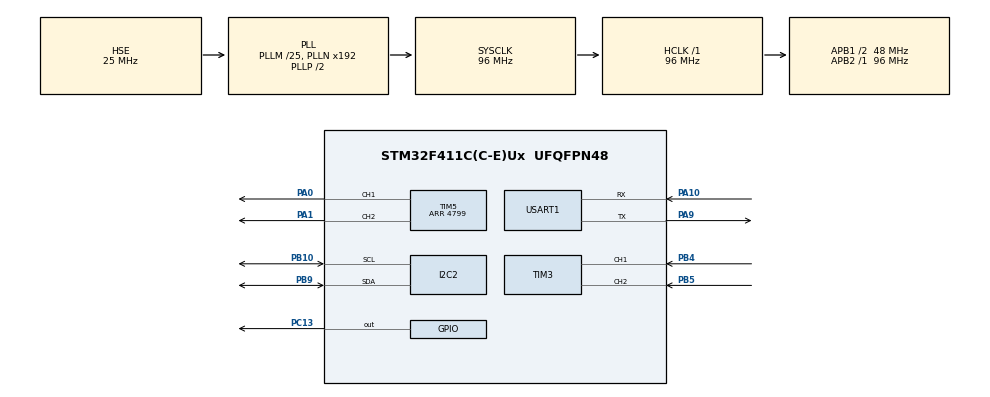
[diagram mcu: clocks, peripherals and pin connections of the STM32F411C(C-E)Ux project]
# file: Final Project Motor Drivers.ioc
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I2C2.I2C_Mode=I2C_Fast
Mcu.Family=STM32F4
Mcu.Name=STM32F411C(C-E)Ux
Mcu.Package=UFQFPN48
NVIC.I2C2_ER_IRQn=true\:0\:0\:false\:false\:true\:true\:true\:true
NVIC.I2C2_EV_IRQn=true\:0\:0\:false\:false\:true\:true\:true\:true
NVIC.PriorityGroup=NVIC_PRIORITYGROUP_4
NVIC.TIM3_IRQn=true\:0\:0\:false\:false\:true\:true\:true\:true
NVIC.USART1_IRQn=true\:0\:0\:false\:false\:true\:true\:true\:true
PA0-WKUP.Signal=S_TIM5_CH1
PA1.Signal=S_TIM5_CH2
PA10.Mode=Asynchronous
PA10.Signal=USART1_RX
PA13.Mode=Serial_Wire
PA13.Signal=SYS_JTMS-SWDIO
PA14.Mode=Serial_Wire
PA14.Signal=SYS_JTCK-SWCLK
PA9.Mode=Asynchronous
PA9.Signal=USART1_TX
PB10.GPIO_Pu=GPIO_NOPULL
PB10.Mode=I2C
PB10.Signal=I2C2_SCL
PB4.GPIO_ModeDefaultPP=GPIO_MODE_AF_OD
PB4.GPIO_PuPd=GPIO_PULLUP
PB4.Signal=S_TIM3_CH1
PB5.GPIO_ModeDefaultPP=GPIO_MODE_AF_OD
PB5.GPIO_PuPd=GPIO_PULLUP
PB5.Signal=S_TIM3_CH2
PB9.GPIO_Pu=GPIO_NOPULL
PB9.Mode=I2C
PB9.Signal=I2C2_SDA
PC13-ANTI_TAMP.Signal=GPIO_Output
PH0\ -\ OSC_IN.Mode=HSE-External-Oscillator
PH0\ -\ OSC_IN.Signal=RCC_OSC_IN
PH1\ -\ OSC_OUT.Mode=HSE-External-Oscillator
PH1\ -\ OSC_OUT.Signal=RCC_OSC_OUT
ProjectManager.HeapSize=0x200
ProjectManager.StackSize=0x400
ProjectManager.TargetToolchain=STM32CubeIDE
RCC.48MHZClocksFreq_Value=48000000
RCC.AHBFreq_Value=96000000
RCC.APB1CLKDivider=RCC_HCLK_DIV2
RCC.APB1Freq_Value=48000000
RCC.APB1TimFreq_Value=96000000
RCC.APB2Freq_Value=96000000
RCC.APB2TimFreq_Value=96000000
RCC.CortexFreq_Value=96000000
RCC.HCLKFreq_Value=96000000
RCC.HSE_VALUE=25000000
RCC.HSI_VALUE=16000000
RCC.LSE_VALUE=32768
RCC.PLLM=25
RCC.PLLSourceVirtual=RCC_PLLSOURCE_HSE
RCC.SYSCLKFreq_VALUE=96000000
RCC.SYSCLKSource=RCC_SYSCLKSOURCE_PLLCLK
RCC.VCOOutputFreq_Value=192000000
SH.S_TIM3_CH1.0=TIM3_CH1,Encoder_Interface
SH.S_TIM3_CH2.0=TIM3_CH2,Encoder_Interface
SH.S_TIM5_CH1.0=TIM5_CH1,PWM Generation1 CH1
SH.S_TIM5_CH2.0=TIM5_CH2,PWM Generation2 CH2
TIM2.Period=4799
TIM2.Prescaler=0
TIM3.AutoReloadPreload=TIM_AUTORELOAD_PRELOAD_DISABLE
TIM5.Channel-PWM\ Generation1\ CH1=TIM_CHANNEL_1
TIM5.Channel-PWM\ Generation2\ CH2=TIM_CHANNEL_2
TIM5.OCPolarity_1=TIM_OCPOLARITY_LOW
TIM5.OCPolarity_2=TIM_OCPOLARITY_LOW
TIM5.Period=4799
USART1.VirtualMode=VM_ASYNC
VP_TIM1_VS_ClockSourceITR.Mode=TriggerSource_ITR0
VP_TIM2_VS_ClockSourceINT.Mode=Internal
board=custom

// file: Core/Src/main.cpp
/* USER CODE BEGIN Header */
/**
  ******************************************************************************
  * @file           : main.c
  * @brief          : Main program body
  ******************************************************************************
  * @attention
  *
  * Copyright (c) 2023 STMicroelectronics.
  * All rights reserved.
  *
  * This software is licensed under terms that can be found in the LICENSE file
  * in the root directory of this software component.
  * If no LICENSE file comes with this software, it is provided AS-IS.
  *
  ******************************************************************************
  */
/* USER CODE END Header */
#include "main.h"

/* USER CODE BEGIN Includes */
#include "Motor.h"

/* USER CODE END Includes */

I2C_HandleTypeDef hi2c2;

TIM_HandleTypeDef htim1;
TIM_HandleTypeDef htim2;
TIM_HandleTypeDef htim3;
TIM_HandleTypeDef htim5;

UART_HandleTypeDef huart1;

/* USER CODE BEGIN PV */
int motorDuty = 50;
int16_t Count = 0;
char msg_buff[200] = {0};
int reset = 0;
/* USER CODE END PV */

void SystemClock_Config(void);
static void MX_GPIO_Init(void);
static void MX_TIM2_Init(void);
static void MX_USART1_UART_Init(void);
static void MX_TIM1_Init(void);
static void MX_I2C2_Init(void);
static void MX_TIM3_Init(void);
static void MX_TIM5_Init(void);

/* USER CODE BEGIN 0 */
Motor motor1 = Motor(&htim5,&htim3,TIM_CHANNEL_1,TIM_CHANNEL_2);
/* USER CODE END 0 */

int main(void)
{

  /* MCU Configuration--------------------------------------------------------*/

  /* Reset of all peripherals, Initializes the Flash interface and the Systick. */
  HAL_Init();

  /* Configure the system clock */
  SystemClock_Config();

  /* Initialize all configured peripherals */
  MX_GPIO_Init();
  MX_TIM2_Init();
  MX_USART1_UART_Init();
  MX_TIM1_Init();
  MX_I2C2_Init();
  MX_TIM3_Init();
  MX_TIM5_Init();
  /* USER CODE BEGIN 2 */
  HAL_TIM_Encoder_Start(&htim3,TIM_CHANNEL_ALL);
  HAL_TIM_PWM_Start(&htim5,TIM_CHANNEL_1);
  HAL_TIM_PWM_Start(&htim5,TIM_CHANNEL_2);

  motor1.Enable(1);
  motor1.setGains(3,0,1);
  //motor1.duty(50);
  /* USER CODE END 2 */

  /* Infinite loop */
  /* USER CODE BEGIN WHILE */
  while (1)
  {
	  HAL_Delay(10);
	  motor1.VariableControl(6747/3,8,0.2,25);

	  int32_t len = sprintf(msg_buff, "Motor Position is: %i Motor Effort is: %i Motor Error is: %i\r\n",motor1.Pos,motor1.Duty,motor1.error);
	  // print string to uart
	  HAL_UART_Transmit(&huart1,(uint8_t*) &msg_buff,len,1000);

	  if(reset == 1){
		  motor1.zeroErrors();
		  motor1.Pos = 0;
	  }
    /* USER CODE END WHILE */

  }
}

void SystemClock_Config(void)
{
  RCC_OscInitTypeDef RCC_OscInitStruct = {0};
  RCC_ClkInitTypeDef RCC_ClkInitStruct = {0};

  /** Configure the main internal regulator output voltage
  */
  __HAL_RCC_PWR_CLK_ENABLE();
  __HAL_PWR_VOLTAGESCALING_CONFIG(PWR_REGULATOR_VOLTAGE_SCALE1);

  /** Initializes the RCC Oscillators according to the specified parameters
  * in the RCC_OscInitTypeDef structure.
  */
  RCC_OscInitStruct.OscillatorType = RCC_OSCILLATORTYPE_HSE;
  RCC_OscInitStruct.HSEState = RCC_HSE_ON;
  RCC_OscInitStruct.PLL.PLLState = RCC_PLL_ON;
  RCC_OscInitStruct.PLL.PLLSource = RCC_PLLSOURCE_HSE;
  RCC_OscInitStruct.PLL.PLLM = 25;
  RCC_OscInitStruct.PLL.PLLN = 192;
  RCC_OscInitStruct.PLL.PLLP = RCC_PLLP_DIV2;
  RCC_OscInitStruct.PLL.PLLQ = 4;
  if (HAL_RCC_OscConfig(&RCC_OscInitStruct) != HAL_OK)
  {
    Error_Handler();
  }

  /** Initializes the CPU, AHB and APB buses clocks
  */
  RCC_ClkInitStruct.ClockType = RCC_CLOCKTYPE_HCLK|RCC_CLOCKTYPE_SYSCLK
                              |RCC_CLOCKTYPE_PCLK1|RCC_CLOCKTYPE_PCLK2;
  RCC_ClkInitStruct.SYSCLKSource = RCC_SYSCLKSOURCE_PLLCLK;
  RCC_ClkInitStruct.AHBCLKDivider = RCC_SYSCLK_DIV1;
  RCC_ClkInitStruct.APB1CLKDivider = RCC_HCLK_DIV2;
  RCC_ClkInitStruct.APB2CLKDivider = RCC_HCLK_DIV1;

  if (HAL_RCC_ClockConfig(&RCC_ClkInitStruct, FLASH_LATENCY_3) != HAL_OK)
  {
    Error_Handler();
  }
}

static void MX_I2C2_Init(void)
{

  hi2c2.Instance = I2C2;
  hi2c2.Init.ClockSpeed = 400000;
  hi2c2.Init.DutyCycle = I2C_DUTYCYCLE_2;
  hi2c2.Init.OwnAddress1 = 0;
  hi2c2.Init.AddressingMode = I2C_ADDRESSINGMODE_7BIT;
  hi2c2.Init.DualAddressMode = I2C_DUALADDRESS_DISABLE;
  hi2c2.Init.OwnAddress2 = 0;
  hi2c2.Init.GeneralCallMode = I2C_GENERALCALL_DISABLE;
  hi2c2.Init.NoStretchMode = I2C_NOSTRETCH_DISABLE;
  if (HAL_I2C_Init(&hi2c2) != HAL_OK)
  {
    Error_Handler();
  }

}

static void MX_TIM1_Init(void)
{

  TIM_SlaveConfigTypeDef sSlaveConfig = {0};
  TIM_MasterConfigTypeDef sMasterConfig = {0};

  htim1.Instance = TIM1;
  htim1.Init.Prescaler = 0;
  htim1.Init.CounterMode = TIM_COUNTERMODE_UP;
  htim1.Init.Period = 65535;
  htim1.Init.ClockDivision = TIM_CLOCKDIVISION_DIV1;
  htim1.Init.RepetitionCounter = 0;
  htim1.Init.AutoReloadPreload = TIM_AUTORELOAD_PRELOAD_DISABLE;
  if (HAL_TIM_Base_Init(&htim1) != HAL_OK)
  {
    Error_Handler();
  }
  sSlaveConfig.SlaveMode = TIM_SLAVEMODE_DISABLE;
  sSlaveConfig.InputTrigger = TIM_TS_ITR0;
  if (HAL_TIM_SlaveConfigSynchro(&htim1, &sSlaveConfig) != HAL_OK)
  {
    Error_Handler();
  }
  sMasterConfig.MasterOutputTrigger = TIM_TRGO_RESET;
  sMasterConfig.MasterSlaveMode = TIM_MASTERSLAVEMODE_DISABLE;
  if (HAL_TIMEx_MasterConfigSynchronization(&htim1, &sMasterConfig) != HAL_OK)
  {
    Error_Handler();
  }

}

static void MX_TIM2_Init(void)
{

  TIM_ClockConfigTypeDef sClockSourceConfig = {0};
  TIM_MasterConfigTypeDef sMasterConfig = {0};

  htim2.Instance = TIM2;
  htim2.Init.Prescaler = 0;
  htim2.Init.CounterMode = TIM_COUNTERMODE_UP;
  htim2.Init.Period = 4799;
  htim2.Init.ClockDivision = TIM_CLOCKDIVISION_DIV1;
  htim2.Init.AutoReloadPreload = TIM_AUTORELOAD_PRELOAD_DISABLE;
  if (HAL_TIM_Base_Init(&htim2) != HAL_OK)
  {
    Error_Handler();
  }
  sClockSourceConfig.ClockSource = TIM_CLOCKSOURCE_INTERNAL;
  if (HAL_TIM_ConfigClockSource(&htim2, &sClockSourceConfig) != HAL_OK)
  {
    Error_Handler();
  }
  sMasterConfig.MasterOutputTrigger = TIM_TRGO_RESET;
  sMasterConfig.MasterSlaveMode = TIM_MASTERSLAVEMODE_DISABLE;
  if (HAL_TIMEx_MasterConfigSynchronization(&htim2, &sMasterConfig) != HAL_OK)
  {
    Error_Handler();
  }

}

static void MX_TIM3_Init(void)
{

  TIM_Encoder_InitTypeDef sConfig = {0};
  TIM_MasterConfigTypeDef sMasterConfig = {0};

  htim3.Instance = TIM3;
  htim3.Init.Prescaler = 0;
  htim3.Init.CounterMode = TIM_COUNTERMODE_UP;
  htim3.Init.Period = 65535;
  htim3.Init.ClockDivision = TIM_CLOCKDIVISION_DIV1;
  htim3.Init.AutoReloadPreload = TIM_AUTORELOAD_PRELOAD_DISABLE;
  sConfig.EncoderMode = TIM_ENCODERMODE_TI1;
  sConfig.IC1Polarity = TIM_ICPOLARITY_RISING;
  sConfig.IC1Selection = TIM_ICSELECTION_DIRECTTI;
  sConfig.IC1Prescaler = TIM_ICPSC_DIV1;
  sConfig.IC1Filter = 0;
  sConfig.IC2Polarity = TIM_ICPOLARITY_RISING;
  sConfig.IC2Selection = TIM_ICSELECTION_DIRECTTI;
  sConfig.IC2Prescaler = TIM_ICPSC_DIV1;
  sConfig.IC2Filter = 0;
  if (HAL_TIM_Encoder_Init(&htim3, &sConfig) != HAL_OK)
  {
    Error_Handler();
  }
  sMasterConfig.MasterOutputTrigger = TIM_TRGO_RESET;
  sMasterConfig.MasterSlaveMode = TIM_MASTERSLAVEMODE_DISABLE;
  if (HAL_TIMEx_MasterConfigSynchronization(&htim3, &sMasterConfig) != HAL_OK)
  {
    Error_Handler();
  }

}

static void MX_TIM5_Init(void)
{

  TIM_MasterConfigTypeDef sMasterConfig = {0};
  TIM_OC_InitTypeDef sConfigOC = {0};

  htim5.Instance = TIM5;
  htim5.Init.Prescaler = 0;
  htim5.Init.CounterMode = TIM_COUNTERMODE_UP;
  htim5.Init.Period = 4799;
  htim5.Init.ClockDivision = TIM_CLOCKDIVISION_DIV1;
  htim5.Init.AutoReloadPreload = TIM_AUTORELOAD_PRELOAD_DISABLE;
  if (HAL_TIM_PWM_Init(&htim5) != HAL_OK)
  {
    Error_Handler();
  }
  sMasterConfig.MasterOutputTrigger = TIM_TRGO_RESET;
  sMasterConfig.MasterSlaveMode = TIM_MASTERSLAVEMODE_DISABLE;
  if (HAL_TIMEx_MasterConfigSynchronization(&htim5, &sMasterConfig) != HAL_OK)
  {
    Error_Handler();
  }
  sConfigOC.OCMode = TIM_OCMODE_PWM1;
  sConfigOC.Pulse = 0;
  sConfigOC.OCPolarity = TIM_OCPOLARITY_LOW;
  sConfigOC.OCFastMode = TIM_OCFAST_DISABLE;
  if (HAL_TIM_PWM_ConfigChannel(&htim5, &sConfigOC, TIM_CHANNEL_1) != HAL_OK)
  {
    Error_Handler();
  }
  if (HAL_TIM_PWM_ConfigChannel(&htim5, &sConfigOC, TIM_CHANNEL_2) != HAL_OK)
  {
    Error_Handler();
  }
  HAL_TIM_MspPostInit(&htim5);

}

static void MX_USART1_UART_Init(void)
{

  huart1.Instance = USART1;
  huart1.Init.BaudRate = 115200;
  huart1.Init.WordLength = UART_WORDLENGTH_8B;
  huart1.Init.StopBits = UART_STOPBITS_1;
  huart1.Init.Parity = UART_PARITY_NONE;
  huart1.Init.Mode = UART_MODE_TX_RX;
  huart1.Init.HwFlowCtl = UART_HWCONTROL_NONE;
  huart1.Init.OverSampling = UART_OVERSAMPLING_16;
  if (HAL_UART_Init(&huart1) != HAL_OK)
  {
    Error_Handler();
  }

}

static void MX_GPIO_Init(void)
{
  GPIO_InitTypeDef GPIO_InitStruct = {0};

  /* GPIO Ports Clock Enable */
  __HAL_RCC_GPIOC_CLK_ENABLE();
  __HAL_RCC_GPIOH_CLK_ENABLE();
  __HAL_RCC_GPIOA_CLK_ENABLE();
  __HAL_RCC_GPIOB_CLK_ENABLE();

  /*Configure GPIO pin Output Level */
  HAL_GPIO_WritePin(GPIOC, GPIO_PIN_13, GPIO_PIN_RESET);

  /*Configure GPIO pin : PC13 */
  GPIO_InitStruct.Pin = GPIO_PIN_13;
  GPIO_InitStruct.Mode = GPIO_MODE_OUTPUT_PP;
  GPIO_InitStruct.Pull = GPIO_NOPULL;
  GPIO_InitStruct.Speed = GPIO_SPEED_FREQ_LOW;
  HAL_GPIO_Init(GPIOC, &GPIO_InitStruct);

}

void Error_Handler(void)
{
  __disable_irq();
  while (1)
  {
  }
}
